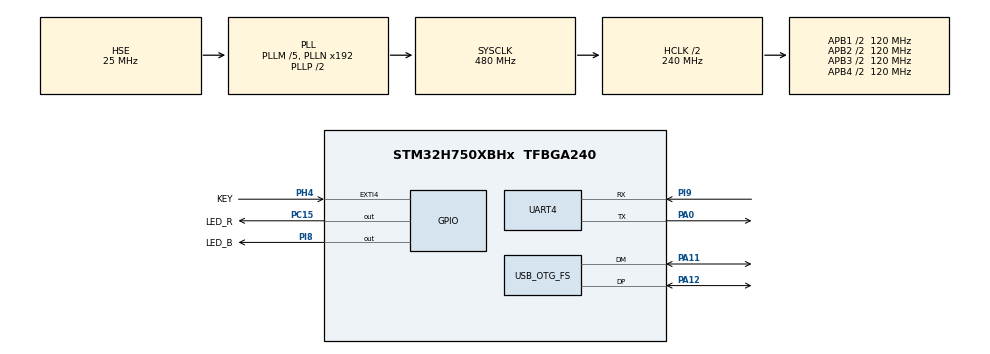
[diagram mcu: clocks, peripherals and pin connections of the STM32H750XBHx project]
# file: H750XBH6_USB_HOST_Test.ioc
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CORTEX_M7.CPU_DCache=Enabled
CORTEX_M7.CPU_ICache=Enabled
Dma.Request0=UART4_RX
Dma.Request1=UART4_TX
Dma.UART4_RX.0.Direction=DMA_PERIPH_TO_MEMORY
Dma.UART4_RX.0.EventEnable=DISABLE
Dma.UART4_RX.0.FIFOMode=DMA_FIFOMODE_DISABLE
Dma.UART4_RX.0.Instance=DMA1_Stream0
Dma.UART4_RX.0.MemDataAlignment=DMA_MDATAALIGN_BYTE
Dma.UART4_RX.0.MemInc=DMA_MINC_ENABLE
Dma.UART4_RX.0.Mode=DMA_NORMAL
Dma.UART4_RX.0.PeriphDataAlignment=DMA_PDATAALIGN_BYTE
Dma.UART4_RX.0.PeriphInc=DMA_PINC_DISABLE
Dma.UART4_RX.0.Polarity=HAL_DMAMUX_REQ_GEN_RISING
Dma.UART4_RX.0.Priority=DMA_PRIORITY_LOW
Dma.UART4_RX.0.RequestNumber=1
Dma.UART4_RX.0.SignalID=NONE
Dma.UART4_RX.0.SyncEnable=DISABLE
Dma.UART4_RX.0.SyncPolarity=HAL_DMAMUX_SYNC_NO_EVENT
Dma.UART4_RX.0.SyncRequestNumber=1
Dma.UART4_RX.0.SyncSignalID=NONE
Dma.UART4_TX.1.Direction=DMA_MEMORY_TO_PERIPH
Dma.UART4_TX.1.EventEnable=DISABLE
Dma.UART4_TX.1.FIFOMode=DMA_FIFOMODE_DISABLE
Dma.UART4_TX.1.Instance=DMA1_Stream1
Dma.UART4_TX.1.MemDataAlignment=DMA_MDATAALIGN_BYTE
Dma.UART4_TX.1.MemInc=DMA_MINC_ENABLE
Dma.UART4_TX.1.Mode=DMA_NORMAL
Dma.UART4_TX.1.PeriphDataAlignment=DMA_PDATAALIGN_BYTE
Dma.UART4_TX.1.PeriphInc=DMA_PINC_DISABLE
Dma.UART4_TX.1.Polarity=HAL_DMAMUX_REQ_GEN_RISING
Dma.UART4_TX.1.Priority=DMA_PRIORITY_LOW
Dma.UART4_TX.1.RequestNumber=1
Dma.UART4_TX.1.SignalID=NONE
Dma.UART4_TX.1.SyncEnable=DISABLE
Dma.UART4_TX.1.SyncPolarity=HAL_DMAMUX_SYNC_NO_EVENT
Dma.UART4_TX.1.SyncRequestNumber=1
Dma.UART4_TX.1.SyncSignalID=NONE
Mcu.Family=STM32H7
Mcu.Name=STM32H750XBHx
Mcu.Package=TFBGA240
NVIC.DMA1_Stream0_IRQn=true\:0\:0\:false\:false\:true\:false\:true
NVIC.DMA1_Stream1_IRQn=true\:0\:0\:false\:false\:true\:false\:true
NVIC.EXTI4_IRQn=true\:1\:0\:true\:false\:true\:true\:true
NVIC.OTG_FS_EP1_IN_IRQn=true\:0\:0\:false\:false\:true\:true\:true
NVIC.OTG_FS_EP1_OUT_IRQn=true\:0\:0\:false\:false\:true\:true\:true
NVIC.OTG_FS_IRQn=true\:0\:0\:false\:false\:true\:true\:true
NVIC.PriorityGroup=NVIC_PRIORITYGROUP_4
NVIC.UART4_IRQn=true\:0\:0\:false\:false\:true\:true\:true
PA0.Mode=Asynchronous
PA0.Signal=UART4_TX
PA11.Mode=Host_Only
PA11.Signal=USB_OTG_FS_DM
PA12.Mode=Host_Only
PA12.Signal=USB_OTG_FS_DP
PA13\ (JTMS/SWDIO).Mode=Serial_Wire
PA13\ (JTMS/SWDIO).Signal=DEBUG_JTMS-SWDIO
PA14\ (JTCK/SWCLK).Mode=Serial_Wire
PA14\ (JTCK/SWCLK).Signal=DEBUG_JTCK-SWCLK
PC15-OSC32_OUT\ (OSC32_OUT).GPIO_Label=LED_R
PC15-OSC32_OUT\ (OSC32_OUT).Signal=GPIO_Output
PH0-OSC_IN\ (PH0).Mode=HSE-External-Oscillator
PH0-OSC_IN\ (PH0).Signal=RCC_OSC_IN
PH1-OSC_OUT\ (PH1).Mode=HSE-External-Oscillator
PH1-OSC_OUT\ (PH1).Signal=RCC_OSC_OUT
PH4.GPIO_Label=KEY
PH4.GPIO_ModeDefaultEXTI=GPIO_MODE_IT_FALLING
PH4.GPIO_PuPd=GPIO_PULLUP
PH4.Signal=GPXTI4
PI8.GPIO_Label=LED_B
PI8.Signal=GPIO_Output
PI9.Mode=Asynchronous
PI9.Signal=UART4_RX
ProjectManager.HeapSize=0xF000
ProjectManager.StackSize=0xF000
ProjectManager.TargetToolchain=MDK-ARM V5.27
RCC.ADCFreq_Value=50390625
RCC.APB1Freq_Value=120000000
RCC.APB2Freq_Value=120000000
RCC.APB3Freq_Value=120000000
RCC.APB4Freq_Value=120000000
RCC.CortexFreq_Value=480000000
RCC.D1PPRE=RCC_APB3_DIV2
RCC.D2PPRE1=RCC_APB1_DIV2
RCC.D2PPRE2=RCC_APB2_DIV2
RCC.D3PPRE=RCC_APB4_DIV2
RCC.DIVM1=5
RCC.DIVN1=192
RCC.DIVQ1=20
RCC.HCLKFreq_Value=240000000
RCC.HPRE=RCC_HCLK_DIV2
RCC.PLL2FRACN=0
RCC.PLL3FRACN=0
RCC.PLLFRACN=0
RCC.PLLSourceVirtual=RCC_PLLSOURCE_HSE
RCC.SYSCLKFreq_VALUE=480000000
RCC.SYSCLKSource=RCC_SYSCLKSOURCE_PLLCLK
RCC.USBFreq_Value=48000000
USB_HOST.USBH_DEBUG_LEVEL-CDC_FS=1
USB_HOST.USBH_HandleTypeDef-CDC_FS=hUsbHostFS
USB_HOST.VirtualModeFS=Cdc
USB_OTG_FS.VirtualMode=Host_Only
USB_OTG_FS.phy_itface=HCD_PHY_EMBEDDED
VP_USB_HOST_VS_USB_HOST_CDC_FS.Mode=CDC_FS
board=custom

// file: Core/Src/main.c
/* USER CODE BEGIN Header */
/**
  ******************************************************************************
  * @file           : main.c
  * @brief          : Main program body
  ******************************************************************************
  * @attention
  *
  * <h2><center>&copy; Copyright (c) 2023 STMicroelectronics.
  * All rights reserved.</center></h2>
  *
  * This software component is licensed by ST under Ultimate Liberty license
  * SLA0044, the "License"; You may not use this file except in compliance with
  * the License. You may obtain a copy of the License at:
  *                             www.st.com/SLA0044
  *
  ******************************************************************************
  */
/* USER CODE END Header */
#include "main.h"
#include "dma.h"
#include "usart.h"
#include "usb_host.h"
#include "gpio.h"

/* USER CODE BEGIN Includes */
#include <stdio.h>
#include "usbh_def.h"
#include <string.h>
#include "usbh_cdc.h"
/* USER CODE END Includes */

void SystemClock_Config(void);
void MX_USB_HOST_Process(void);

/* USER CODE BEGIN PFP */
uint8_t i=0;
/* USER CODE END PFP */

/* USER CODE BEGIN 0 */
extern USBH_HandleTypeDef hUsbHostFS;
/* USER CODE END 0 */

int main(void)
{
  /* USER CODE BEGIN 1 */
    char Rx_Buffer[100];
  /* USER CODE END 1 */

  /* Enable I-Cache---------------------------------------------------------*/
  SCB_EnableICache();

  /* Enable D-Cache---------------------------------------------------------*/
  SCB_EnableDCache();

  /* MCU Configuration--------------------------------------------------------*/

  /* Reset of all peripherals, Initializes the Flash interface and the Systick. */
  HAL_Init();

  /* Configure the system clock */
  SystemClock_Config();

  /* Initialize all configured peripherals */
  MX_GPIO_Init();
  MX_DMA_Init();
  MX_UART4_Init();
  MX_USB_HOST_Init();
  /* USER CODE BEGIN 2 */
    HAL_GPIO_TogglePin(LED_R_GPIO_Port,LED_R_Pin);
  /* USER CODE END 2 */

  /* Infinite loop */
  while (1)
  {
    MX_USB_HOST_Process();

    /* USER CODE BEGIN 3 */
      HAL_GPIO_TogglePin(LED_B_GPIO_Port,LED_B_Pin);
      HAL_Delay(50);
  }
  /* USER CODE END 3 */
}

void SystemClock_Config(void)
{
  RCC_OscInitTypeDef RCC_OscInitStruct = {0};
  RCC_ClkInitTypeDef RCC_ClkInitStruct = {0};
  RCC_PeriphCLKInitTypeDef PeriphClkInitStruct = {0};

  /** Supply configuration update enable
  */
  HAL_PWREx_ConfigSupply(PWR_LDO_SUPPLY);
  /** Configure the main internal regulator output voltage
  */
  __HAL_PWR_VOLTAGESCALING_CONFIG(PWR_REGULATOR_VOLTAGE_SCALE0);

  while(!__HAL_PWR_GET_FLAG(PWR_FLAG_VOSRDY)) {}
  /** Initializes the RCC Oscillators according to the specified parameters
  * in the RCC_OscInitTypeDef structure.
  */
  RCC_OscInitStruct.OscillatorType = RCC_OSCILLATORTYPE_HSE;
  RCC_OscInitStruct.HSEState = RCC_HSE_ON;
  RCC_OscInitStruct.PLL.PLLState = RCC_PLL_ON;
  RCC_OscInitStruct.PLL.PLLSource = RCC_PLLSOURCE_HSE;
  RCC_OscInitStruct.PLL.PLLM = 5;
  RCC_OscInitStruct.PLL.PLLN = 192;
  RCC_OscInitStruct.PLL.PLLP = 2;
  RCC_OscInitStruct.PLL.PLLQ = 20;
  RCC_OscInitStruct.PLL.PLLR = 2;
  RCC_OscInitStruct.PLL.PLLRGE = RCC_PLL1VCIRANGE_2;
  RCC_OscInitStruct.PLL.PLLVCOSEL = RCC_PLL1VCOWIDE;
  RCC_OscInitStruct.PLL.PLLFRACN = 0;
  if (HAL_RCC_OscConfig(&RCC_OscInitStruct) != HAL_OK)
  {
    Error_Handler();
  }
  /** Initializes the CPU, AHB and APB buses clocks
  */
  RCC_ClkInitStruct.ClockType = RCC_CLOCKTYPE_HCLK|RCC_CLOCKTYPE_SYSCLK
                              |RCC_CLOCKTYPE_PCLK1|RCC_CLOCKTYPE_PCLK2
                              |RCC_CLOCKTYPE_D3PCLK1|RCC_CLOCKTYPE_D1PCLK1;
  RCC_ClkInitStruct.SYSCLKSource = RCC_SYSCLKSOURCE_PLLCLK;
  RCC_ClkInitStruct.SYSCLKDivider = RCC_SYSCLK_DIV1;
  RCC_ClkInitStruct.AHBCLKDivider = RCC_HCLK_DIV2;
  RCC_ClkInitStruct.APB3CLKDivider = RCC_APB3_DIV2;
  RCC_ClkInitStruct.APB1CLKDivider = RCC_APB1_DIV2;
  RCC_ClkInitStruct.APB2CLKDivider = RCC_APB2_DIV2;
  RCC_ClkInitStruct.APB4CLKDivider = RCC_APB4_DIV2;

  if (HAL_RCC_ClockConfig(&RCC_ClkInitStruct, FLASH_LATENCY_4) != HAL_OK)
  {
    Error_Handler();
  }
  PeriphClkInitStruct.PeriphClockSelection = RCC_PERIPHCLK_UART4|RCC_PERIPHCLK_USB;
  PeriphClkInitStruct.Usart234578ClockSelection = RCC_USART234578CLKSOURCE_D2PCLK1;
  PeriphClkInitStruct.UsbClockSelection = RCC_USBCLKSOURCE_PLL;
  if (HAL_RCCEx_PeriphCLKConfig(&PeriphClkInitStruct) != HAL_OK)
  {
    Error_Handler();
  }
  /** Enable USB Voltage detector
  */
  HAL_PWREx_EnableUSBVoltageDetector();
}

/* USER CODE BEGIN 4 */
void HAL_GPIO_EXTI_Callback(uint16_t GPIO_Pin)
{
        uint8_t Tx_Buffer[20]="灵遨老六\n";
  if(GPIO_Pin==KEY_Pin)
  {
      if(  HAL_GPIO_ReadPin(KEY_GPIO_Port,KEY_Pin ) == 0 )
      {
          if(i==0)
                i=1;
          if(USBH_CDC_Transmit(&hUsbHostFS,Tx_Buffer,strlen((char*)Tx_Buffer))==USBH_OK)
          {
              printf("发送成功\n");
          }
          else
          {
              printf("发送失败\n");
          }

      }
  }
}
/* USER CODE END 4 */

void Error_Handler(void)
{
  __disable_irq();
  while (1)
  {
  }
}

/************************ (C) COPYRIGHT STMicroelectronics *****END OF FILE****/
